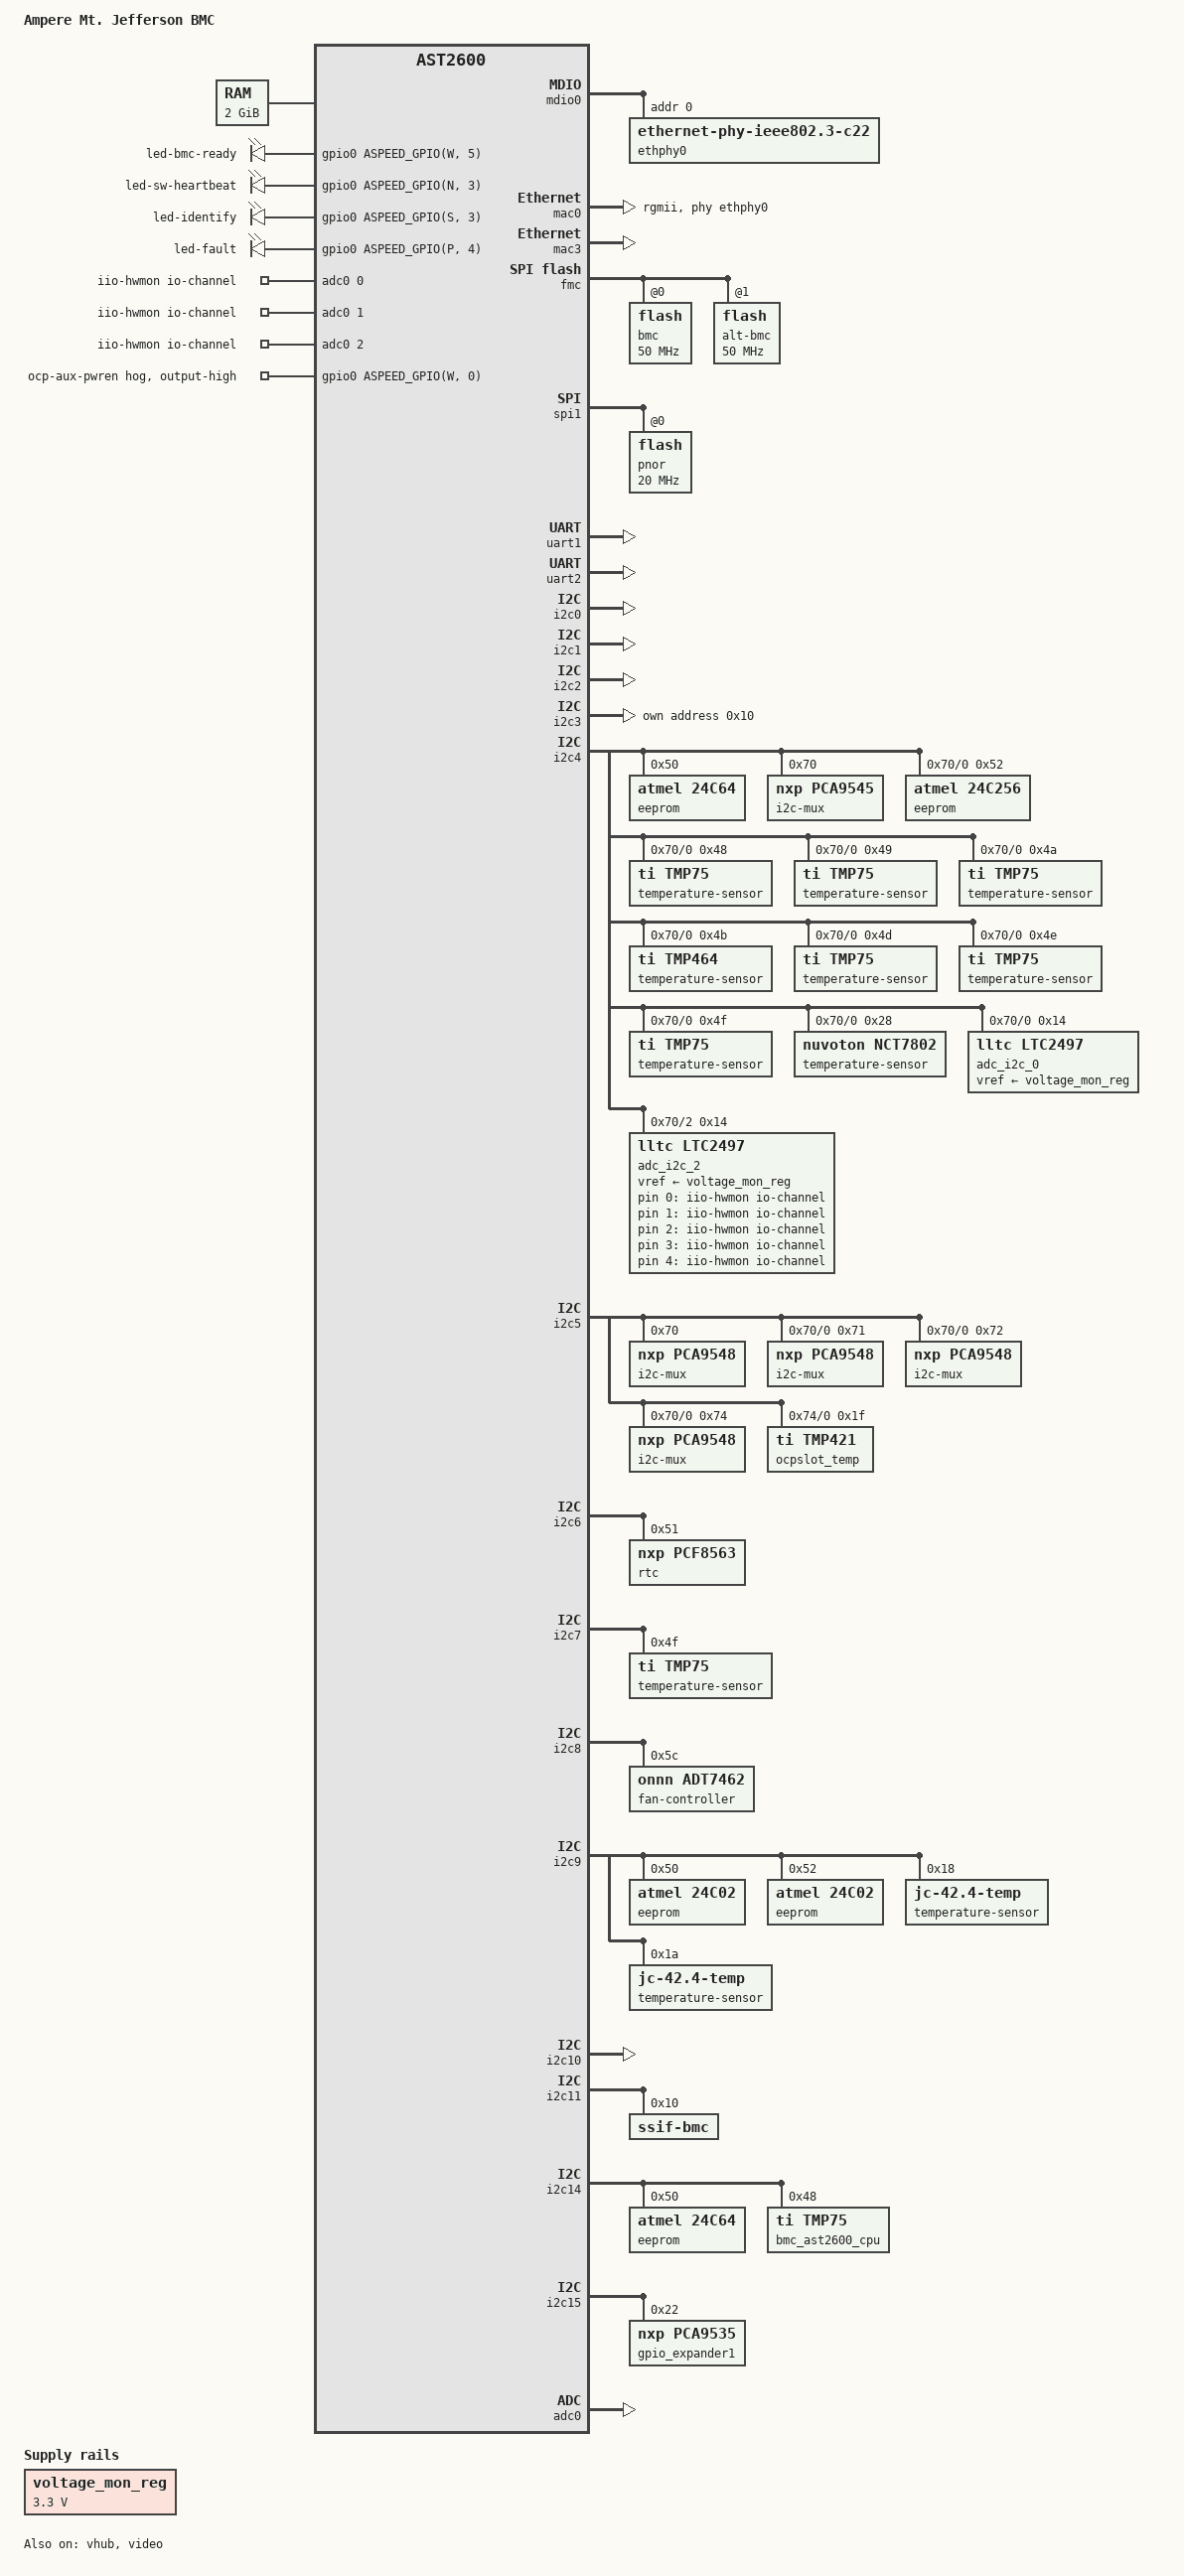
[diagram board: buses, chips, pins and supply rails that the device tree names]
// SPDX-License-Identifier: GPL-2.0-only
// Copyright 2024 Ampere Computing LLC.

/dts-v1/;

#include "aspeed-g6.dtsi"
#include <dt-bindings/i2c/i2c.h>
#include <dt-bindings/gpio/aspeed-gpio.h>

/ {
	model = "Ampere Mt. Jefferson BMC";
	compatible = "ampere,mtjefferson-bmc", "aspeed,ast2600";

	aliases {
		i2c20 = &i2c4_bus70_chn0;
		i2c22 = &i2c4_bus70_chn2;

		/*
		 *  I2C OCP alias port
		 */
		i2c30 = &ocpslot;

		/*
		 *  I2C NVMe alias port
		 */
		i2c48 = &nvmeslot_0;
		i2c49 = &nvmeslot_1;
		i2c50 = &nvmeslot_2;
		i2c51 = &nvmeslot_3;
		i2c52 = &nvmeslot_4;
		i2c53 = &nvmeslot_5;
		i2c54 = &nvmeslot_6;
		i2c55 = &nvmeslot_7;
		i2c56 = &nvmeslot_8;
		i2c57 = &nvmeslot_9;
		i2c58 = &nvmeslot_10;
		i2c59 = &nvmeslot_11;
	};

	chosen {
		stdout-path = &uart5;
	};

	memory@80000000 {
		device_type = "memory";
		reg = <0x80000000 0x80000000>;
	};

	reserved-memory {
		#address-cells = <1>;
		#size-cells = <1>;
		ranges;

		gfx_memory: framebuffer {
			size = <0x01000000>;
			alignment = <0x01000000>;
			compatible = "shared-dma-pool";
			reusable;
		};

		video_engine_memory: video {
			size = <0x04000000>;
			alignment = <0x01000000>;
			compatible = "shared-dma-pool";
			reusable;
		};

		vga_memory: region@bf000000 {
			no-map;
			compatible = "shared-dma-pool";
			reg = <0xbf000000 0x01000000>;  /* 16M */
		};
	};

	voltage_mon_reg: voltage-mon-regulator {
		compatible = "regulator-fixed";
		regulator-name = "ltc2497_reg";
		regulator-min-microvolt = <3300000>;
		regulator-max-microvolt = <3300000>;
		regulator-always-on;
	};

	leds {
		compatible = "gpio-leds";
		led-bmc-ready {
			gpios = <&gpio0 ASPEED_GPIO(W, 5) (GPIO_ACTIVE_HIGH | GPIO_TRANSITORY)>;
		};

		led-sw-heartbeat {
			gpios = <&gpio0 ASPEED_GPIO(N, 3) GPIO_ACTIVE_HIGH>;
		};

		led-identify {
			gpios = <&gpio0 ASPEED_GPIO(S, 3) GPIO_ACTIVE_HIGH>;
		};

		led-fault {
			gpios = <&gpio0 ASPEED_GPIO(P, 4) GPIO_ACTIVE_HIGH>;
		};
	};

	iio-hwmon {
		compatible = "iio-hwmon";
		io-channels =   <&adc0 0>, <&adc0 1>, <&adc0 2>,
				<&adc_i2c_2 0>, <&adc_i2c_2 1>,
				<&adc_i2c_2 2>, <&adc_i2c_2 3>,
				<&adc_i2c_2 4>, <&adc_i2c_2 5>,
				<&adc_i2c_2 6>, <&adc_i2c_2 7>,
				<&adc_i2c_2 8>, <&adc_i2c_2 9>,
				<&adc_i2c_2 10>, <&adc_i2c_2 11>,
				<&adc_i2c_2 12>, <&adc_i2c_2 13>,
				<&adc_i2c_2 14>, <&adc_i2c_2 15>,
				<&adc_i2c_0 0>, <&adc_i2c_0 1>,
				<&adc_i2c_0 2>, <&adc_i2c_0 3>,
				<&adc_i2c_0 4>, <&adc_i2c_0 5>,
				<&adc_i2c_0 6>, <&adc_i2c_0 7>,
				<&adc_i2c_0 8>, <&adc_i2c_0 9>,
				<&adc_i2c_0 10>, <&adc_i2c_0 11>,
				<&adc_i2c_0 12>;
	};
};

&mdio0 {
	status = "okay";

	ethphy0: ethernet-phy@0 {
		compatible = "ethernet-phy-ieee802.3-c22";
		reg = <0>;
	};
};

&mac0 {
	status = "okay";

	phy-mode = "rgmii";
	phy-handle = <&ethphy0>;

	pinctrl-names = "default";
	pinctrl-0 = <&pinctrl_rgmii1_default>;
};

&mac3 {
	status = "okay";
	pinctrl-names = "default";
	pinctrl-0 = <&pinctrl_rmii4_default>;
	use-ncsi;
};

&fmc {
	status = "okay";
	flash@0 {
		status = "okay";
		m25p,fast-read;
		label = "bmc";
		spi-max-frequency = <50000000>;
#include "openbmc-flash-layout-64.dtsi"
	};

	flash@1 {
		status = "okay";
		m25p,fast-read;
		label = "alt-bmc";
		spi-max-frequency = <50000000>;
#include "openbmc-flash-layout-64-alt.dtsi"
	};
};

&spi1 {
	status = "okay";
	pinctrl-names = "default";
	pinctrl-0 = <&pinctrl_spi1_default>;

	flash@0 {
		status = "okay";
		m25p,fast-read;
		label = "pnor";
		spi-max-frequency = <20000000>;
	};
};

&uart1 {
	status = "okay";
};

&uart2 {
	status = "okay";
};

&i2c0 {
	status = "okay";
};

&i2c1 {
	status = "okay";
};

&i2c2 {
	status = "okay";
};

&i2c3 {
	status = "okay";
	bus-frequency = <1000000>;
	multi-master;
	mctp-controller;

	mctp@10 {
		compatible = "mctp-i2c-controller";
		reg = <(0x10 | I2C_OWN_SLAVE_ADDRESS)>;
	};
};

&i2c4 {
	status = "okay";
	eeprom@50 {
		compatible = "atmel,24c64";
		reg = <0x50>;
		pagesize = <32>;
	};

	i2c-mux@70 {
		compatible = "nxp,pca9545";
		#address-cells = <1>;
		#size-cells = <0>;
		reg = <0x70>;
		i2c-mux-idle-disconnect;

		i2c4_bus70_chn0: i2c@0 {
			#address-cells = <1>;
			#size-cells = <0>;
			reg = <0x0>;

			eeprom@52 {
				compatible = "atmel,24c256";
				reg = <0x52>;
				pagesize = <32>;
			};
			temperature-sensor@48 {
				compatible = "ti,tmp75";
				reg = <0x48>;
			};
			temperature-sensor@49 {
				compatible = "ti,tmp75";
				reg = <0x49>;
			};
			temperature-sensor@4a{
				compatible = "ti,tmp75";
				reg = <0x4a>;
			};
			temperature-sensor@4b {
				compatible = "ti,tmp464";
				reg = <0x4b>;
				#address-cells = <1>;
				#size-cells = <0>;

				channel@0 {
					reg = <0x0>;
					status = "disabled";
				};
				channel@1 {
					reg = <0x1>;
					status = "disabled";
				};
				channel@2 {
					reg = <0x2>;
					status = "disabled";
				};
				channel@3 {
					reg = <0x3>;
					status = "disabled";
				};
				channel@4 {
					reg = <0x4>;
				};
			};
			temperature-sensor@4d {
				compatible = "ti,tmp75";
				reg = <0x4d>;
			};
			temperature-sensor@4e {
				compatible = "ti,tmp75";
				reg = <0x4e>;
			};
			temperature-sensor@4f {
				compatible = "ti,tmp75";
				reg = <0x4f>;
			};
			temperature-sensor@28 {
				compatible = "nuvoton,nct7802";
				reg = <0x28>;

				#address-cells = <1>;
				#size-cells = <0>;
				channel@1 { /* RTD1 */
					reg = <1>;
					sensor-type = "temperature";
					temperature-mode = "thermistor";
				};
			};
			adc_i2c_0: adc@14 {
				compatible = "lltc,ltc2497";
				reg = <0x14>;
				vref-supply = <&voltage_mon_reg>;
				#io-channel-cells = <1>;
			};
		};

		i2c4_bus70_chn2: i2c@2 {
			#address-cells = <1>;
			#size-cells = <0>;
			reg = <0x2>;

			adc_i2c_2: adc@14 {
				compatible = "lltc,ltc2497";
				reg = <0x14>;
				vref-supply = <&voltage_mon_reg>;
				#io-channel-cells = <1>;
			};
		};
	};
};

&i2c5 {
	status = "okay";
	i2c-mux@70 {
		compatible = "nxp,pca9548";
		#address-cells = <1>;
		#size-cells = <0>;
		reg = <0x70>;
		i2c-mux-idle-disconnect;

		i2c@0 {
			#address-cells = <1>;
			#size-cells = <0>;
			reg = <0x0>;

			i2c-mux@71 {
				compatible = "nxp,pca9548";
				#address-cells = <1>;
				#size-cells = <0>;
				reg = <0x71>;
				i2c-mux-idle-disconnect;

				nvmeslot_8: i2c@0 {
					#address-cells = <1>;
					#size-cells = <0>;
					reg = <0x0>;
				};
				nvmeslot_9: i2c@1 {
					#address-cells = <1>;
					#size-cells = <0>;
					reg = <0x1>;
				};
				nvmeslot_10: i2c@2 {
					#address-cells = <1>;
					#size-cells = <0>;
					reg = <0x2>;
				};
				nvmeslot_11: i2c@3 {
					#address-cells = <1>;
					#size-cells = <0>;
					reg = <0x3>;
				};
			};

			i2c-mux@72 {
				compatible = "nxp,pca9548";
				#address-cells = <1>;
				#size-cells = <0>;
				reg = <0x72>;
				i2c-mux-idle-disconnect;

				nvmeslot_4: i2c@4 {
					#address-cells = <1>;
					#size-cells = <0>;
					reg = <0x4>;
				};
				nvmeslot_5: i2c@5 {
					#address-cells = <1>;
					#size-cells = <0>;
					reg = <0x5>;
				};
				nvmeslot_6: i2c@6 {
					#address-cells = <1>;
					#size-cells = <0>;
					reg = <0x6>;
				};
				nvmeslot_7: i2c@7 {
					#address-cells = <1>;
					#size-cells = <0>;
					reg = <0x7>;
				};
			};

			i2c-mux@74 {
				compatible = "nxp,pca9548";
				#address-cells = <1>;
				#size-cells = <0>;
				reg = <0x74>;
				i2c-mux-idle-disconnect;

				ocpslot: i2c@0 {
					#address-cells = <1>;
					#size-cells = <0>;
					reg = <0x0>;

					ocpslot_temp: temperature-sensor@1f {
						compatible = "ti,tmp421";
						reg = <0x1f>;
						#address-cells = <1>;
						#size-cells = <0>;

						channel@0 {
							reg = <0x0>;
							status = "disabled";
						};
						channel@1 {
							reg = <0x1>;
						};
					};
				};

				nvmeslot_0: i2c@4 {
					#address-cells = <1>;
					#size-cells = <0>;
					reg = <0x4>;
				};
				nvmeslot_1: i2c@5 {
					#address-cells = <1>;
					#size-cells = <0>;
					reg = <0x5>;
				};
				nvmeslot_2: i2c@6 {
					#address-cells = <1>;
					#size-cells = <0>;
					reg = <0x6>;
				};
				nvmeslot_3: i2c@7 {
					#address-cells = <1>;
					#size-cells = <0>;
					reg = <0x7>;
				};
			};
		};
	};
};

&i2c6 {
	status = "okay";

	rtc@51 {
		compatible = "nxp,pcf8563";
		reg = <0x51>;
	};
};

&i2c7 {
	status = "okay";

	temperature-sensor@4f {
		compatible = "ti,tmp75";
		reg = <0x4f>;
	};
};

&i2c8 {
	status = "okay";

	fan-controller@5c {
		compatible = "onnn,adt7462";
		reg = <0x5c>;
	};
};

&i2c9 {
	status = "okay";

	#address-cells = <1>;
	#size-cells = <0>;

	eeprom@50 {
		compatible = "atmel,24c02";
		reg = <0x50>;
	};

	eeprom@52 {
		compatible = "atmel,24c02";
		reg = <0x52>;
	};

	temperature-sensor@18 {
		compatible = "jedec,jc-42.4-temp";
		reg = <0x18>;
	};

	temperature-sensor@1a {
		compatible = "jedec,jc-42.4-temp";
		reg = <0x1a>;
	};
};

&i2c10 {
	status = "okay";
};

&i2c11 {
	status = "okay";
	ssif-bmc@10 {
		compatible = "ssif-bmc";
		reg = <0x10>;
	};
};

&i2c14 {
	status = "okay";
	eeprom@50 {
		compatible = "atmel,24c64";
		reg = <0x50>;
		pagesize = <32>;
	};

	bmc_ast2600_cpu: temperature-sensor@48 {
		compatible = "ti,tmp75";
		reg = <0x48>;
	};
};

&i2c15 {
	status = "okay";
	gpio_expander1: gpio-expander@22 {
		compatible = "nxp,pca9535";
		reg = <0x22>;
		gpio-controller;
		#gpio-cells = <2>;
		gpio-line-names =
			"presence-ocp1","presence-ocp2",
			"","",
			"","",
			"","",
			"","",
			"","",
			"","",
			"","";
	};
};

&adc0 {
	status = "okay";

	pinctrl-names = "default";
	pinctrl-0 = <&pinctrl_adc0_default &pinctrl_adc1_default
		&pinctrl_adc2_default>;
};

&vhub {
	status = "okay";
};

&video {
	status = "okay";
	memory-region = <&video_engine_memory>;
};

&gpio0 {
	gpio-line-names =
	/*A0-A7*/	"","","","","cpu-type-detect","i2c2-reset-n","i2c6-reset-n","i2c5-reset-n",
	/*B0-B7*/	"","","","","host0-sysreset-n","host0-pmin-n","fru-rd-complete",
			"chassis-id-sel",
	/*C0-C7*/	"s0-vrd-fault-n","","bmc-debug-mode","","cpld-3v3-irq-n","","vrd-sel",
			"spd-sel",
	/*D0-D7*/	"presence-ps0","presence-ps1","hsc-12vmain-alt2-n","ext-high-temp-n",
			"","","","",
	/*E0-E7*/	"eth-phy-rst-n","eth-phy-int-n","","","","","","",
	/*F0-F7*/	"s0-pcp-oc-warn-n","","power-chassis-control",
			"cpu-bios-recover","s0-heartbeat","hs-scout-proc-hot","s0-vr-hot-n","",
	/*G0-G7*/	"","","hsc-12vmain-alt1-n","","","bp-cpld-program-en","led-fp-sta-gr",
			"led-fp-sta-amb",
	/*H0-H7*/	"jtag-program-sel","jtag-cmpl2","wd-disable-n","power-chassis-good","","",
			"","",
	/*I0-I7*/	"","","","","","","power-button","rtc-battery-voltage-read-enable",
	/*J0-J7*/	"","","","","","","","",
	/*K0-K7*/	"","","","","","","","",
	/*L0-L7*/	"","","","","reset-button","","","",
	/*M0-M7*/	"nmi-n","s0-ddr-save","soc-spi-nor-access","presence-cpu0","s0-rtc-lock",
			"","","",
	/*N0-N7*/	"hpm-fw-recovery","hpm-stby-rst-n","jtag-sel-s0","led-sw-hb",
			"jtag-dbgr-prsnt-n","","","",
	/*O0-O7*/	"","","","","","","","",
	/*P0-P7*/	"ps0-ac-loss-n","ps1-ac-loss-n","","","led-fault","user-mode","jtag-srst-n",
			"led-bmc-hb",
	/*Q0-Q7*/	"","","","","","","","",
	/*R0-R7*/	"","","","","","","","",
	/*S0-S7*/	"","","identify-button","led-identify","","spi-nor-access","host0-ready","",
	/*T0-T7*/	"","","","","","","","",
	/*U0-U7*/	"","","","","","","","",
	/*V0-V7*/	"s0-hightemp-n","s0-fault-alert","s0-sys-auth-failure-n",
			"host0-reboot-ack-n","s0-fw-boot-ok","host0-shd-req-n",
			"host0-shd-ack-n","s0-overtemp-n",
	/*W0-W7*/	"ocp-aux-pwren","ocp-main-pwren","ocp-pgood","",
			"bmc-ok","bmc-ready","spi0-program-sel","spi0-backup-sel",
	/*X0-X7*/	"","","","","","","","",
	/*Y0-Y7*/	"","","","vrd-prg-en-n","","","","host0-special-boot",
	/*Z0-Z7*/	"","ps0-pgood","ps1-pgood","","","","","";

	ocp-aux-pwren-hog {
		gpio-hog;
		gpios = <ASPEED_GPIO(W, 0) GPIO_ACTIVE_HIGH>;
		output-high;
		line-name = "ocp-aux-pwren";
	};

};

&gpio1 {
	gpio-line-names =
	/*18A0-18A7*/	"","","","","","","","",
	/*18B0-18B7*/	"","","","","s0-soc-pgood","vga-ft-press-n","emmc-rst-n","s01-uart1-sel",
	/*18C0-18C7*/	"uart1-mode0","uart1-mode1","uart2-mode0","uart2-mode1",
			"","","","",
	/*18D0-18D7*/	"","","","","","","","",
	/*18E0-18E3*/	"","","","";
};
